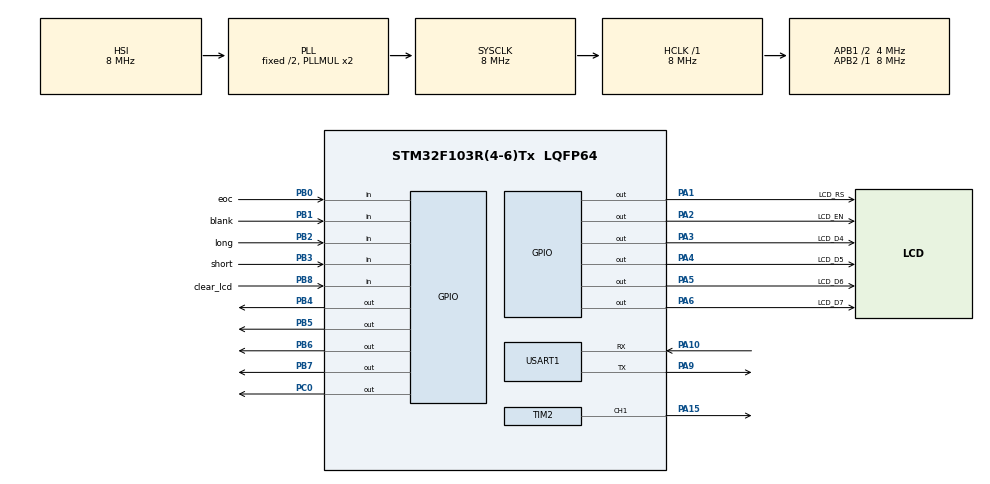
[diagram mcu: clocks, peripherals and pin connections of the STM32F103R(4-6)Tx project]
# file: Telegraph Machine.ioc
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Mcu.Family=STM32F1
Mcu.Name=STM32F103R(4-6)Tx
Mcu.Package=LQFP64
NVIC.PriorityGroup=NVIC_PRIORITYGROUP_4
NVIC.USART1_IRQn=true\:0\:0\:false\:false\:true\:true\:true
PA1.GPIO_Label=LCD_RS
PA1.Signal=GPIO_Output
PA10.Mode=Asynchronous
PA10.Signal=USART1_RX
PA15.GPIO_ModeDefaultPP=GPIO_MODE_AF_OD
PA15.GPIO_Speed=GPIO_SPEED_FREQ_HIGH
PA15.Signal=S_TIM2_CH1_ETR
PA2.GPIO_Label=LCD_EN
PA2.Signal=GPIO_Output
PA3.GPIO_Label=LCD_D4
PA3.Signal=GPIO_Output
PA4.GPIO_Label=LCD_D5
PA4.Signal=GPIO_Output
PA5.GPIO_Label=LCD_D6
PA5.Signal=GPIO_Output
PA6.GPIO_Label=LCD_D7
PA6.Signal=GPIO_Output
PA9.Mode=Asynchronous
PA9.Signal=USART1_TX
PB0.GPIO_Label=eoc
PB0.GPIO_Mode=GPIO_MODE_INPUT
PB0.GPIO_PuPd=GPIO_PULLDOWN
PB0.Signal=GPIO_Input
PB1.GPIO_Label=blank
PB1.GPIO_Mode=GPIO_MODE_INPUT
PB1.GPIO_PuPd=GPIO_PULLDOWN
PB1.Signal=GPIO_Input
PB2.GPIO_Label=long
PB2.GPIO_Mode=GPIO_MODE_INPUT
PB2.GPIO_PuPd=GPIO_PULLDOWN
PB2.Signal=GPIO_Input
PB3.GPIO_Label=short
PB3.GPIO_Mode=GPIO_MODE_INPUT
PB3.GPIO_PuPd=GPIO_PULLDOWN
PB3.Signal=GPIO_Input
PB4.GPIO_ModeDefaultOutputPP=GPIO_MODE_OUTPUT_OD
PB4.GPIO_PuPd=GPIO_NOPULL
PB4.GPIO_Speed=GPIO_SPEED_FREQ_LOW
PB4.PinState=GPIO_PIN_SET
PB4.Signal=GPIO_Output
PB5.GPIO_ModeDefaultOutputPP=GPIO_MODE_OUTPUT_OD
PB5.GPIO_PuPd=GPIO_NOPULL
PB5.GPIO_Speed=GPIO_SPEED_FREQ_LOW
PB5.PinState=GPIO_PIN_SET
PB5.Signal=GPIO_Output
PB6.GPIO_ModeDefaultOutputPP=GPIO_MODE_OUTPUT_OD
PB6.GPIO_PuPd=GPIO_NOPULL
PB6.GPIO_Speed=GPIO_SPEED_FREQ_LOW
PB6.PinState=GPIO_PIN_SET
PB6.Signal=GPIO_Output
PB7.GPIO_ModeDefaultOutputPP=GPIO_MODE_OUTPUT_OD
PB7.GPIO_PuPd=GPIO_NOPULL
PB7.GPIO_Speed=GPIO_SPEED_FREQ_LOW
PB7.PinState=GPIO_PIN_SET
PB7.Signal=GPIO_Output
PB8.GPIO_Label=clear_lcd
PB8.GPIO_PuPd=GPIO_PULLDOWN
PB8.Signal=GPIO_Input
PC0.GPIO_ModeDefaultOutputPP=GPIO_MODE_OUTPUT_PP
PC0.GPIO_PuPd=GPIO_NOPULL
PC0.GPIO_Speed=GPIO_SPEED_FREQ_LOW
PC0.PinState=GPIO_PIN_RESET
PC0.Signal=GPIO_Output
ProjectManager.HeapSize=0x200
ProjectManager.StackSize=0x400
ProjectManager.TargetToolchain=MDK-ARM V5.27
RCC.AHBFreq_Value=8000000
RCC.APB1CLKDivider=RCC_HCLK_DIV2
RCC.APB1Freq_Value=4000000
RCC.APB1TimFreq_Value=8000000
RCC.APB2Freq_Value=8000000
RCC.APB2TimFreq_Value=8000000
RCC.HCLKFreq_Value=8000000
RCC.SYSCLKFreq_VALUE=8000000
RCC.SYSCLKSource=RCC_SYSCLKSOURCE_PLLCLK
RCC.USBFreq_Value=8000000
SH.S_TIM2_CH1_ETR.0=TIM2_CH1,PWM Generation1 CH1
TIM2.Channel-PWM\ Generation1\ CH1=TIM_CHANNEL_1
TIM2.Period=99
TIM2.Prescaler=799
USART1.VirtualMode=VM_ASYNC
VP_SYS_VS_ND.Mode=No_Debug
VP_TIM2_VS_ClockSourceINT.Mode=Internal
board=custom

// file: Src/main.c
/* USER CODE BEGIN Header */
/**
  ******************************************************************************
  * @file           : main.c
  * @brief          : Main program body
  ******************************************************************************
  * @attention
  *
  * <h2><center>&copy; Copyright (c) 2020 STMicroelectronics.
  * All rights reserved.</center></h2>
  *
  * This software component is licensed by ST under BSD 3-Clause license,
  * the "License"; You may not use this file except in compliance with the
  * License. You may obtain a copy of the License at:
  *                        opensource.org/licenses/BSD-3-Clause
  *
  ******************************************************************************
  */
/* USER CODE END Header */

#include "main.h"

/* USER CODE BEGIN Includes */

#include <stdio.h>
#include <stdlib.h>
#include <string.h>
#include <ctype.h>
#include <math.h>

/* USER CODE END Includes */

/* USER CODE BEGIN PTD */

typedef enum kind {
    ALPHA, NUM
} Kind;

typedef struct mtree {
    char value;
    struct mtree *dot;
    struct mtree *bar;
} MTree;

/* USER CODE END PTD */

TIM_HandleTypeDef htim2;

UART_HandleTypeDef huart1;

/* USER CODE BEGIN PV */

MTree *root;
uint16_t lcd_index = 1;

void make_tree(void);
void drop_tree(void);
void encode_out(const char *s);
void decode_out(const char *s);

static const char *alpha[] = {
    ".-",   //A
    "-...", //B
    "-.-.", //C
    "-..",  //D
    ".",    //E
    "..-.", //F
    "--.",  //G
    "....", //H
    "..",   //I
    ".---", //J
    "-.-",  //K
    ".-..", //L
    "--",   //M
    "-.",   //N
    "---",  //O
    ".--.", //P
    "--.-", //Q
    ".-.",  //R
    "...",  //S
    "-",    //T
    "..-",  //U
    "...-", //V
    ".--",  //W
    "-..-", //X
    "-.--", //Y
    "--..", //Z
};
static const char *num[] = {
    "-----", //0
    ".----", //1
    "..---", //2
    "...--", //3
    "....-", //4
    ".....", //5
    "-....", //6
    "--...", //7
    "---..", //8
    "----.", //9
};
static const char **table[] = { alpha, num };

/* USER CODE END PV */

void SystemClock_Config(void);
static void MX_GPIO_Init(void);
static void MX_USART1_UART_Init(void);
static void MX_TIM2_Init(void);
/* USER CODE BEGIN PFP */

#include "LCD.h"

/* USER CODE END PFP */

/* USER CODE BEGIN 0 */

void send_num_to_uart(uint8_t num){
	uint8_t blank = ' ';
	uint8_t one = '1';
	uint8_t zero = '0';
	uint8_t sum = '0' + num;
	HAL_UART_Transmit(&huart1, &blank, sizeof(blank), 500);
	if (num == 10) {
			HAL_UART_Transmit(&huart1, &one, sizeof(one), 500);
			HAL_UART_Transmit(&huart1, &zero, sizeof(zero), 500);
	}	else {
			HAL_UART_Transmit(&huart1, &sum, sizeof(sum), 500);
	}
}

/* USER CODE END 0 */

int main(void)
{

  /* MCU Configuration--------------------------------------------------------*/

  /* Reset of all peripherals, Initializes the Flash interface and the Systick. */
  HAL_Init();

  /* Configure the system clock */
  SystemClock_Config();

  /* Initialize all configured peripherals */
  MX_GPIO_Init();
  MX_USART1_UART_Init();
  MX_TIM2_Init();
  /* USER CODE BEGIN 2 */
	uint8_t number = 0;
	uint8_t uart_input= 0;
	make_tree();
	HAL_TIM_PWM_Start(&htim2, TIM_CHANNEL_1);

  /* USER CODE END 2 */

  /* Infinite loop */
  /* USER CODE BEGIN WHILE */

	lcd_init(_LCD_4BIT, _LCD_FONT_5x8, _LCD_2LINE);
  char ch[210];
  while (1)

  {
    /* USER CODE END WHILE */

    /* USER CODE BEGIN 3 */
		HAL_GPIO_WritePin(GPIOC, GPIO_PIN_0, GPIO_PIN_RESET);

		HAL_UART_Receive(&huart1, &uart_input, sizeof(uart_input), 500);
		if ((uart_input >= 'A' && uart_input <= 'Z') || uart_input == ' ' || (uart_input >= '0' && uart_input <= '9')  ){
			HAL_UART_Transmit(&huart1, &uart_input, sizeof(uart_input), 500);
			char inp[1];
			inp[0] = uart_input;
			encode_out(inp);
			lcd_print(1, lcd_index, " ");
			lcd_index++;
		}

		if (HAL_GPIO_ReadPin(GPIOB, eoc_Pin)) {
				HAL_GPIO_WritePin(GPIOB, GPIO_PIN_4, GPIO_PIN_RESET);
				decode_out(ch);
				strcpy(ch, "");
				lcd_print(2, 1, "                ");
		}

		if (HAL_GPIO_ReadPin(GPIOB, blank_Pin)) {
				HAL_GPIO_WritePin(GPIOB, GPIO_PIN_5, GPIO_PIN_RESET);
				strcpy(ch, "/");
				decode_out(ch);
				lcd_print(2, 1, "                ");
				strcpy(ch, "");

		}

		if (HAL_GPIO_ReadPin(GPIOB, long_Pin)) {
				HAL_GPIO_WritePin(GPIOB, GPIO_PIN_6, GPIO_PIN_RESET);
				char c = '-';
				strcat(ch, &c);
		}

		if (HAL_GPIO_ReadPin(clear_lcd_GPIO_Port, clear_lcd_Pin)) {
				strcpy(ch, "");
				lcd_clear();
				lcd_index = 1;
		}

		if (HAL_GPIO_ReadPin(GPIOB, short_Pin)) {
				HAL_GPIO_WritePin(GPIOB, GPIO_PIN_7, GPIO_PIN_RESET);
				char c = '.';
				strcat(ch, &c);
		}

		lcd_print(2, 1, ch);

		HAL_Delay(75);

		HAL_GPIO_WritePin(GPIOB, GPIO_PIN_4, GPIO_PIN_SET);
		HAL_GPIO_WritePin(GPIOB, GPIO_PIN_5, GPIO_PIN_SET);
		HAL_GPIO_WritePin(GPIOB, GPIO_PIN_6, GPIO_PIN_SET);
		HAL_GPIO_WritePin(GPIOB, GPIO_PIN_7, GPIO_PIN_SET);
		uart_input = 0;

  }
  /* USER CODE END 3 */
}

void SystemClock_Config(void)
{
  RCC_OscInitTypeDef RCC_OscInitStruct = {0};
  RCC_ClkInitTypeDef RCC_ClkInitStruct = {0};

  /** Initializes the CPU, AHB and APB busses clocks
  */
  RCC_OscInitStruct.OscillatorType = RCC_OSCILLATORTYPE_HSI;
  RCC_OscInitStruct.HSIState = RCC_HSI_ON;
  RCC_OscInitStruct.HSICalibrationValue = RCC_HSICALIBRATION_DEFAULT;
  RCC_OscInitStruct.PLL.PLLState = RCC_PLL_ON;
  RCC_OscInitStruct.PLL.PLLSource = RCC_PLLSOURCE_HSI_DIV2;
  RCC_OscInitStruct.PLL.PLLMUL = RCC_PLL_MUL2;
  if (HAL_RCC_OscConfig(&RCC_OscInitStruct) != HAL_OK)
  {
    Error_Handler();
  }
  /** Initializes the CPU, AHB and APB busses clocks
  */
  RCC_ClkInitStruct.ClockType = RCC_CLOCKTYPE_HCLK|RCC_CLOCKTYPE_SYSCLK
                              |RCC_CLOCKTYPE_PCLK1|RCC_CLOCKTYPE_PCLK2;
  RCC_ClkInitStruct.SYSCLKSource = RCC_SYSCLKSOURCE_PLLCLK;
  RCC_ClkInitStruct.AHBCLKDivider = RCC_SYSCLK_DIV1;
  RCC_ClkInitStruct.APB1CLKDivider = RCC_HCLK_DIV2;
  RCC_ClkInitStruct.APB2CLKDivider = RCC_HCLK_DIV1;

  if (HAL_RCC_ClockConfig(&RCC_ClkInitStruct, FLASH_LATENCY_0) != HAL_OK)
  {
    Error_Handler();
  }
}

static void MX_TIM2_Init(void)
{

  TIM_ClockConfigTypeDef sClockSourceConfig = {0};
  TIM_MasterConfigTypeDef sMasterConfig = {0};
  TIM_OC_InitTypeDef sConfigOC = {0};

  htim2.Instance = TIM2;
  htim2.Init.Prescaler = 799;
  htim2.Init.CounterMode = TIM_COUNTERMODE_UP;
  htim2.Init.Period = 99;
  htim2.Init.ClockDivision = TIM_CLOCKDIVISION_DIV1;
  htim2.Init.AutoReloadPreload = TIM_AUTORELOAD_PRELOAD_DISABLE;
  if (HAL_TIM_Base_Init(&htim2) != HAL_OK)
  {
    Error_Handler();
  }
  sClockSourceConfig.ClockSource = TIM_CLOCKSOURCE_INTERNAL;
  if (HAL_TIM_ConfigClockSource(&htim2, &sClockSourceConfig) != HAL_OK)
  {
    Error_Handler();
  }
  if (HAL_TIM_PWM_Init(&htim2) != HAL_OK)
  {
    Error_Handler();
  }
  sMasterConfig.MasterOutputTrigger = TIM_TRGO_RESET;
  sMasterConfig.MasterSlaveMode = TIM_MASTERSLAVEMODE_DISABLE;
  if (HAL_TIMEx_MasterConfigSynchronization(&htim2, &sMasterConfig) != HAL_OK)
  {
    Error_Handler();
  }
  sConfigOC.OCMode = TIM_OCMODE_PWM1;
  sConfigOC.Pulse = 0;
  sConfigOC.OCPolarity = TIM_OCPOLARITY_HIGH;
  sConfigOC.OCFastMode = TIM_OCFAST_DISABLE;
  if (HAL_TIM_PWM_ConfigChannel(&htim2, &sConfigOC, TIM_CHANNEL_1) != HAL_OK)
  {
    Error_Handler();
  }
  HAL_TIM_MspPostInit(&htim2);

}

static void MX_USART1_UART_Init(void)
{

  huart1.Instance = USART1;
  huart1.Init.BaudRate = 115200;
  huart1.Init.WordLength = UART_WORDLENGTH_8B;
  huart1.Init.StopBits = UART_STOPBITS_1;
  huart1.Init.Parity = UART_PARITY_NONE;
  huart1.Init.Mode = UART_MODE_TX_RX;
  huart1.Init.HwFlowCtl = UART_HWCONTROL_NONE;
  huart1.Init.OverSampling = UART_OVERSAMPLING_16;
  if (HAL_UART_Init(&huart1) != HAL_OK)
  {
    Error_Handler();
  }

}

static void MX_GPIO_Init(void)
{
  GPIO_InitTypeDef GPIO_InitStruct = {0};

  /* GPIO Ports Clock Enable */
  __HAL_RCC_GPIOC_CLK_ENABLE();
  __HAL_RCC_GPIOA_CLK_ENABLE();
  __HAL_RCC_GPIOB_CLK_ENABLE();

  /*Configure GPIO pin Output Level */
  HAL_GPIO_WritePin(GPIOC, GPIO_PIN_0, GPIO_PIN_RESET);

  /*Configure GPIO pin Output Level */
  HAL_GPIO_WritePin(GPIOA, LCD_RS_Pin|LCD_EN_Pin|LCD_D4_Pin|LCD_D5_Pin
                          |LCD_D6_Pin|LCD_D7_Pin, GPIO_PIN_RESET);

  /*Configure GPIO pin Output Level */
  HAL_GPIO_WritePin(GPIOB, GPIO_PIN_4|GPIO_PIN_5|GPIO_PIN_6|GPIO_PIN_7, GPIO_PIN_SET);

  /*Configure GPIO pin : PC0 */
  GPIO_InitStruct.Pin = GPIO_PIN_0;
  GPIO_InitStruct.Mode = GPIO_MODE_OUTPUT_PP;
  GPIO_InitStruct.Pull = GPIO_NOPULL;
  GPIO_InitStruct.Speed = GPIO_SPEED_FREQ_LOW;
  HAL_GPIO_Init(GPIOC, &GPIO_InitStruct);

  /*Configure GPIO pins : LCD_RS_Pin LCD_EN_Pin LCD_D4_Pin LCD_D5_Pin
                           LCD_D6_Pin LCD_D7_Pin */
  GPIO_InitStruct.Pin = LCD_RS_Pin|LCD_EN_Pin|LCD_D4_Pin|LCD_D5_Pin
                          |LCD_D6_Pin|LCD_D7_Pin;
  GPIO_InitStruct.Mode = GPIO_MODE_OUTPUT_PP;
  GPIO_InitStruct.Pull = GPIO_NOPULL;
  GPIO_InitStruct.Speed = GPIO_SPEED_FREQ_LOW;
  HAL_GPIO_Init(GPIOA, &GPIO_InitStruct);

  /*Configure GPIO pins : eoc_Pin blank_Pin long_Pin short_Pin
                           clear_lcd_Pin */
  GPIO_InitStruct.Pin = eoc_Pin|blank_Pin|long_Pin|short_Pin
                          |clear_lcd_Pin;
  GPIO_InitStruct.Mode = GPIO_MODE_INPUT;
  GPIO_InitStruct.Pull = GPIO_PULLDOWN;
  HAL_GPIO_Init(GPIOB, &GPIO_InitStruct);

  /*Configure GPIO pins : PB4 PB5 PB6 PB7 */
  GPIO_InitStruct.Pin = GPIO_PIN_4|GPIO_PIN_5|GPIO_PIN_6|GPIO_PIN_7;
  GPIO_InitStruct.Mode = GPIO_MODE_OUTPUT_OD;
  GPIO_InitStruct.Pull = GPIO_NOPULL;
  GPIO_InitStruct.Speed = GPIO_SPEED_FREQ_LOW;
  HAL_GPIO_Init(GPIOB, &GPIO_InitStruct);

}

/* USER CODE BEGIN 4 */

void encode_out(const char *s){
    for(;;++s){
        char ch = *s;
        if(ch == '\0')
            break;
        if(isalpha(ch)){
            ch = toupper(ch);
            //fputs(table[ALPHA][ch - 'A'], stdout);//`-'A'` depend on the sequence of character code
					  const char* output;
					  output = table[ALPHA][ch - 'A'];
						for (int i = 0; i < strlen(output); i++){
								HAL_Delay(250);
								if (output[i] == '.'){
									HAL_GPIO_WritePin(GPIOC, GPIO_PIN_0, GPIO_PIN_SET);
									lcd_print(1, lcd_index, ".");
									lcd_index++;
									HAL_Delay(100);
									HAL_GPIO_WritePin(GPIOC, GPIO_PIN_0, GPIO_PIN_RESET);
								} else if (output[i] == '-'){
									HAL_GPIO_WritePin(GPIOC, GPIO_PIN_0, GPIO_PIN_SET);
									lcd_print(1, lcd_index, "-");
									lcd_index++;
									HAL_Delay(300);
									HAL_GPIO_WritePin(GPIOC, GPIO_PIN_0, GPIO_PIN_RESET);
								}
						}

        } else if(isdigit(ch)){
						ch = toupper(ch);
					  const char* output;
					  output = table[NUM][ch - '0'];
						for (int i = 0; i < strlen(output); i++){
								HAL_Delay(200);
								if (output[i] == '.'){
									HAL_GPIO_WritePin(GPIOC, GPIO_PIN_0, GPIO_PIN_SET);
									lcd_print(1, lcd_index, ".");
									lcd_index++;
									HAL_Delay(300);
									HAL_GPIO_WritePin(GPIOC, GPIO_PIN_0, GPIO_PIN_RESET);
								} else if (output[i] == '-'){
									HAL_GPIO_WritePin(GPIOC, GPIO_PIN_0, GPIO_PIN_SET);
									HAL_Delay(800);
									lcd_print(1, lcd_index, "-");
									lcd_index++;
									HAL_GPIO_WritePin(GPIOC, GPIO_PIN_0, GPIO_PIN_RESET);
								}
						}
					}
        else if(ch == ' '){
					lcd_print(1, lcd_index, "/");
					lcd_index++;
				}
        else{
					lcd_print(1, lcd_index, "#");
					lcd_index++;
				}
            ;//invalid character => ignore
        //fputc(' ', stdout);
    }
    //fputc('\n', stdout);
}
static void decode_out_aux(MTree *tree, const char *s){
    if(tree == NULL) return;
    if(*s == '\0'){
				lcd_print(1, lcd_index, &(tree->value));
				lcd_index++;
		}
    else if(*s == '/'){
			char ch = ' ';
			lcd_print(1, lcd_index, &ch);
			lcd_index++;
		}
    else if(*s == '.')
        decode_out_aux(tree->dot, ++s);
    else if(*s == '-')
        decode_out_aux(tree->bar, ++s);

		if (lcd_index >= 16 )lcd_index = 1;

}
void decode_out(const char *s){
    char *p;
    while(*s){
        p = strchr(s, ' ');
        if(p){
            if(p-s != 0){
                char code[p-s+1];
                memcpy(code, s, p-s);
                code[p-s]='\0';
                decode_out_aux(root, code);
            }
            s = p + 1;
        } else {
            decode_out_aux(root, s);
            break;
        }
    }
}
static void insert_aux(MTree **tree, char ch, const char *s){
    if(*tree == NULL)
        *tree = calloc(1, sizeof(**tree));
    if(*s == '\0')
        (*tree)->value = ch;
    else if(*s == '.')
        insert_aux(&(*tree)->dot, ch, ++s);
    else if(*s == '-')
        insert_aux(&(*tree)->bar, ch, ++s);
}

static inline void insert(char ch, const char *s){
    if(*s == '.')
        insert_aux(&root->dot, ch, ++s);
    else if(*s == '-')
        insert_aux(&root->bar, ch, ++s);
}

void make_tree(void){
    root = calloc(1, sizeof(*root));
    //root->value = '/';//anything
    int i;
    for(i = 0; i < 26; ++i)
        insert('A'+i, table[ALPHA][i]);
    for(i = 0; i < 10; ++i)
        insert('0'+i, table[NUM][i]);
}
static void drop_tree_aux(MTree *root){
    if(root){
        drop_tree_aux(root->dot);
        drop_tree_aux(root->bar);
        free(root);
    }
}
void drop_tree(void){
    drop_tree_aux(root);
}

/* USER CODE END 4 */

void Error_Handler(void)
{
}

/************************ (C) COPYRIGHT STMicroelectronics *****END OF FILE****/
